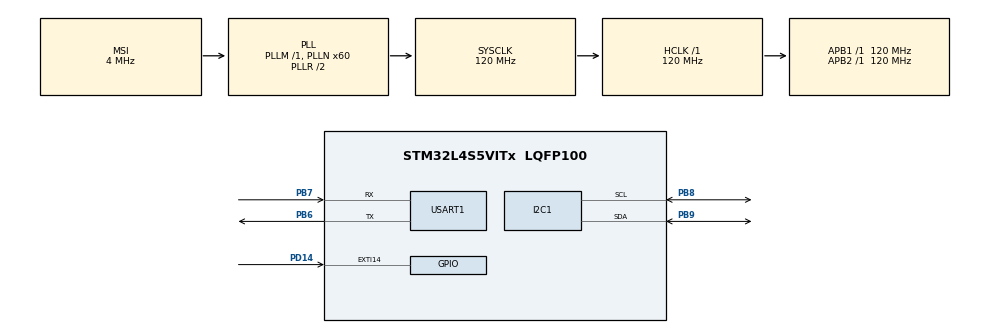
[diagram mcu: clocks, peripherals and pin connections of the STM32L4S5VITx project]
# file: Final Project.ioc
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I2C1.Timing=0x30A175AB
Mcu.Family=STM32L4
Mcu.Name=STM32L4S5VITx
Mcu.Package=LQFP100
NVIC.EXTI15_10_IRQn=true\:0\:0\:false\:false\:true\:true\:true\:true
NVIC.PriorityGroup=NVIC_PRIORITYGROUP_4
PB6.Mode=Asynchronous
PB6.Signal=USART1_TX
PB7.Mode=Asynchronous
PB7.Signal=USART1_RX
PB8.Mode=I2C
PB8.Signal=I2C1_SCL
PB9.Mode=I2C
PB9.Signal=I2C1_SDA
PD14.GPIO_ModeDefaultEXTI=GPIO_MODE_IT_FALLING
PD14.GPIO_PuPd=GPIO_PULLUP
PD14.Signal=GPXTI14
ProjectManager.HeapSize=0x200
ProjectManager.StackSize=0x400
ProjectManager.TargetToolchain=STM32CubeIDE
RCC.ADCFreq_Value=48000000
RCC.AHBFreq_Value=120000000
RCC.APB1Freq_Value=120000000
RCC.APB1TimFreq_Value=120000000
RCC.APB2Freq_Value=120000000
RCC.APB2TimFreq_Value=120000000
RCC.CortexFreq_Value=120000000
RCC.HCLKFreq_Value=120000000
RCC.HSE_VALUE=8000000
RCC.HSI48_VALUE=48000000
RCC.HSI_VALUE=16000000
RCC.LSE_VALUE=32768
RCC.MSI_VALUE=4000000
RCC.PLLN=60
RCC.PLLSAI1N=24
RCC.SYSCLKFreq_VALUE=120000000
RCC.SYSCLKSource=RCC_SYSCLKSOURCE_PLLCLK
RCC.USBFreq_Value=48000000
RCC.VCOOutputFreq_Value=240000000
USART1.VirtualMode-Asynchronous=VM_ASYNC
board=B-L4S5I-IOT01A

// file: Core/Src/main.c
/* USER CODE BEGIN Header */
/**
  ******************************************************************************
  * @file           : main.c
  * @brief          : Main program body
  ******************************************************************************
  * @attention
  *
  * Copyright (c) 2025 STMicroelectronics.
  * All rights reserved.
  *
  * This software is licensed under terms that can be found in the LICENSE file
  * in the root directory of this software component.
  * If no LICENSE file comes with this software, it is provided AS-IS.
  *
  ******************************************************************************
  */
/* USER CODE END Header */
#include "main.h"

/* USER CODE BEGIN Includes */
#include "max30102_for_stm32_hal.h"
#include <stdio.h>
#include <stdbool.h>
#include "pulse_detection_algorithm.h"

/* USER CODE END Includes */

I2C_HandleTypeDef hi2c1;

UART_HandleTypeDef huart1;

/* USER CODE BEGIN PV */
max30102_t max30102;
// Heart rate calculation variables
#define RATE_SIZE 4  // Size of the array for storing heartbeat rates
uint32_t lastBeat = 0;  // Time of the last detected heartbeat
float beatsPerMinute = 0;
uint8_t rates[RATE_SIZE]; // Array to store the last RATE_SIZE heart rate values
uint8_t rateSpot = 0;
uint8_t beatAvg = 0;
/* USER CODE END PV */

void SystemClock_Config(void);
static void MX_GPIO_Init(void);
static void MX_USART1_UART_Init(void);
static void MX_I2C1_Init(void);

/* USER CODE BEGIN 0 */

int _write(int file, char *ptr, int len)
{
	HAL_UART_Transmit(&huart1, (uint8_t*)ptr, len, HAL_MAX_DELAY);
	return len;
}

/* USER CODE END 0 */

int main(void)
{

  /* MCU Configuration--------------------------------------------------------*/

  /* Reset of all peripherals, Initializes the Flash interface and the Systick. */
  HAL_Init();

  /* Configure the system clock */
  SystemClock_Config();

  /* Initialize all configured peripherals */
  MX_GPIO_Init();
  MX_USART1_UART_Init();
  MX_I2C1_Init();
  /* USER CODE BEGIN 2 */
  lastBeat = HAL_GetTick();
  beatsPerMinute = 0;
  for (uint8_t i = 0; i < RATE_SIZE; i++) {
      rates[i] = 0;
  }
  rateSpot = 0;
  beatAvg = 0;
  // Initialize sensor
  max30102_init(&max30102, &hi2c1);

  // Reset sensor and clear FIFO
  max30102_reset(&max30102);
  max30102_clear_fifo(&max30102);

  // Configure FIFO settings
  max30102_set_fifo_config(&max30102, max30102_smp_ave_8, 1, 7);

  // Configure LED settings
  max30102_set_led_pulse_width(&max30102, max30102_pw_16_bit);
  max30102_set_adc_resolution(&max30102, max30102_adc_2048);
  max30102_set_sampling_rate(&max30102, max30102_sr_800);
  max30102_set_led_current_1(&max30102, 6.2);
  max30102_set_led_current_2(&max30102, 6.2);

  // Enter SpO2 measurement mode
  max30102_set_mode(&max30102, max30102_heart_rate);

  // Enable interrupts
  max30102_set_a_full(&max30102, 1);
  max30102_set_die_temp_en(&max30102, 1);
  max30102_set_die_temp_rdy(&max30102, 1);

  printf("MAX30102 initialized and configured\r\n");

  /* USER CODE END 2 */

  /* Infinite loop */
  while (1)
  {

    /* USER CODE BEGIN 3 */

	  // Process the interrupt
	      //max30102_interrupt_handler(&max30102);

	      // Read data from FIFO
	      max30102_read_fifo(&max30102);

	      // Access the data from the max30102 object
	      // The first sample in each array is the most recent
	      uint32_t ir_sample = max30102._ir_samples[0];
	      uint32_t red_sample = max30102._red_samples[0];

	      // Check for heartbeat

	      if (checkForBeat(ir_sample) == true)
	      {
	          // We sensed a beat!
	          uint32_t currentTime = HAL_GetTick();
	          uint32_t delta = currentTime - lastBeat;
	          lastBeat = currentTime;

	          beatsPerMinute = 60 / (delta / 1000.0);

	          if (beatsPerMinute < 255 && beatsPerMinute > 20)
	          {
	              rates[rateSpot++] = (uint8_t)beatsPerMinute; // Store this reading in the array
	              rateSpot %= RATE_SIZE; // Wrap variable

	              // Take average of readings
	              beatAvg = 0;
	              for (uint8_t x = 0; x < RATE_SIZE; x++)
	                  beatAvg += rates[x];
	              beatAvg /= RATE_SIZE;

	              // Print heart rate information
	              printf("BPM: %.1f, Avg BPM: %u\r\n", beatsPerMinute, beatAvg);
	          }
	      }

	    //HAL_Delay(10);

  }
  /* USER CODE END 3 */
}

void SystemClock_Config(void)
{
  RCC_OscInitTypeDef RCC_OscInitStruct = {0};
  RCC_ClkInitTypeDef RCC_ClkInitStruct = {0};

  /** Configure the main internal regulator output voltage
  */
  if (HAL_PWREx_ControlVoltageScaling(PWR_REGULATOR_VOLTAGE_SCALE1_BOOST) != HAL_OK)
  {
    Error_Handler();
  }

  /** Initializes the RCC Oscillators according to the specified parameters
  * in the RCC_OscInitTypeDef structure.
  */
  RCC_OscInitStruct.OscillatorType = RCC_OSCILLATORTYPE_MSI;
  RCC_OscInitStruct.MSIState = RCC_MSI_ON;
  RCC_OscInitStruct.MSICalibrationValue = 0;
  RCC_OscInitStruct.MSIClockRange = RCC_MSIRANGE_6;
  RCC_OscInitStruct.PLL.PLLState = RCC_PLL_ON;
  RCC_OscInitStruct.PLL.PLLSource = RCC_PLLSOURCE_MSI;
  RCC_OscInitStruct.PLL.PLLM = 1;
  RCC_OscInitStruct.PLL.PLLN = 60;
  RCC_OscInitStruct.PLL.PLLP = RCC_PLLP_DIV2;
  RCC_OscInitStruct.PLL.PLLQ = RCC_PLLQ_DIV2;
  RCC_OscInitStruct.PLL.PLLR = RCC_PLLR_DIV2;
  if (HAL_RCC_OscConfig(&RCC_OscInitStruct) != HAL_OK)
  {
    Error_Handler();
  }

  /** Initializes the CPU, AHB and APB buses clocks
  */
  RCC_ClkInitStruct.ClockType = RCC_CLOCKTYPE_HCLK|RCC_CLOCKTYPE_SYSCLK
                              |RCC_CLOCKTYPE_PCLK1|RCC_CLOCKTYPE_PCLK2;
  RCC_ClkInitStruct.SYSCLKSource = RCC_SYSCLKSOURCE_PLLCLK;
  RCC_ClkInitStruct.AHBCLKDivider = RCC_SYSCLK_DIV1;
  RCC_ClkInitStruct.APB1CLKDivider = RCC_HCLK_DIV1;
  RCC_ClkInitStruct.APB2CLKDivider = RCC_HCLK_DIV1;

  if (HAL_RCC_ClockConfig(&RCC_ClkInitStruct, FLASH_LATENCY_5) != HAL_OK)
  {
    Error_Handler();
  }
}

static void MX_I2C1_Init(void)
{

  hi2c1.Instance = I2C1;
  hi2c1.Init.Timing = 0x30A175AB;
  hi2c1.Init.OwnAddress1 = 0;
  hi2c1.Init.AddressingMode = I2C_ADDRESSINGMODE_7BIT;
  hi2c1.Init.DualAddressMode = I2C_DUALADDRESS_DISABLE;
  hi2c1.Init.OwnAddress2 = 0;
  hi2c1.Init.OwnAddress2Masks = I2C_OA2_NOMASK;
  hi2c1.Init.GeneralCallMode = I2C_GENERALCALL_DISABLE;
  hi2c1.Init.NoStretchMode = I2C_NOSTRETCH_DISABLE;
  if (HAL_I2C_Init(&hi2c1) != HAL_OK)
  {
    Error_Handler();
  }

  /** Configure Analogue filter
  */
  if (HAL_I2CEx_ConfigAnalogFilter(&hi2c1, I2C_ANALOGFILTER_ENABLE) != HAL_OK)
  {
    Error_Handler();
  }

  /** Configure Digital filter
  */
  if (HAL_I2CEx_ConfigDigitalFilter(&hi2c1, 0) != HAL_OK)
  {
    Error_Handler();
  }

}

static void MX_USART1_UART_Init(void)
{

  huart1.Instance = USART1;
  huart1.Init.BaudRate = 115200;
  huart1.Init.WordLength = UART_WORDLENGTH_8B;
  huart1.Init.StopBits = UART_STOPBITS_1;
  huart1.Init.Parity = UART_PARITY_NONE;
  huart1.Init.Mode = UART_MODE_TX_RX;
  huart1.Init.HwFlowCtl = UART_HWCONTROL_NONE;
  huart1.Init.OverSampling = UART_OVERSAMPLING_16;
  huart1.Init.OneBitSampling = UART_ONE_BIT_SAMPLE_DISABLE;
  huart1.Init.ClockPrescaler = UART_PRESCALER_DIV1;
  huart1.AdvancedInit.AdvFeatureInit = UART_ADVFEATURE_NO_INIT;
  if (HAL_UART_Init(&huart1) != HAL_OK)
  {
    Error_Handler();
  }
  if (HAL_UARTEx_SetTxFifoThreshold(&huart1, UART_TXFIFO_THRESHOLD_1_8) != HAL_OK)
  {
    Error_Handler();
  }
  if (HAL_UARTEx_SetRxFifoThreshold(&huart1, UART_RXFIFO_THRESHOLD_1_8) != HAL_OK)
  {
    Error_Handler();
  }
  if (HAL_UARTEx_DisableFifoMode(&huart1) != HAL_OK)
  {
    Error_Handler();
  }

}

static void MX_GPIO_Init(void)
{
  GPIO_InitTypeDef GPIO_InitStruct = {0};

  /* GPIO Ports Clock Enable */
  __HAL_RCC_GPIOD_CLK_ENABLE();
  __HAL_RCC_GPIOB_CLK_ENABLE();

  /*Configure GPIO pin : PD14 */
  GPIO_InitStruct.Pin = GPIO_PIN_14;
  GPIO_InitStruct.Mode = GPIO_MODE_IT_FALLING;
  GPIO_InitStruct.Pull = GPIO_PULLUP;
  HAL_GPIO_Init(GPIOD, &GPIO_InitStruct);

  /* EXTI interrupt init*/
  HAL_NVIC_SetPriority(EXTI15_10_IRQn, 0, 0);
  HAL_NVIC_EnableIRQ(EXTI15_10_IRQn);

}

void Error_Handler(void)
{
  __disable_irq();
  while (1)
  {
  }
}
